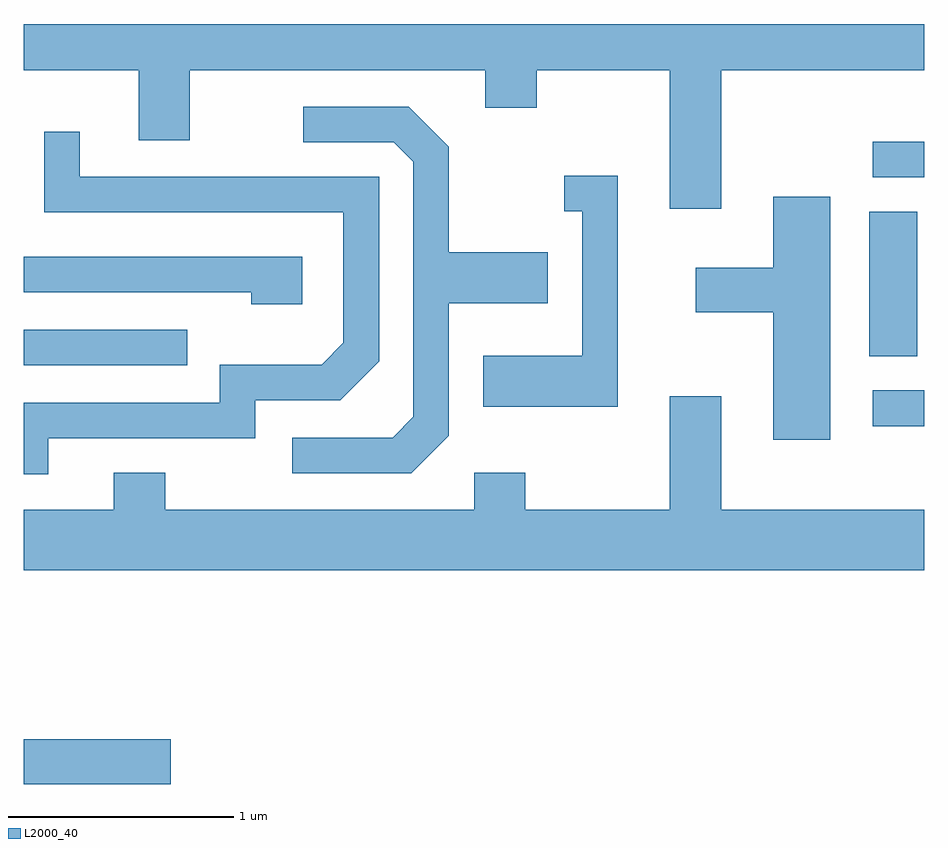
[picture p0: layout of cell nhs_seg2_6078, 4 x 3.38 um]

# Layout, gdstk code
import gdstk
lib = gdstk.Library(unit=1e-6, precision=1e-09)
def R(c, l, rs):  # rectangles x0, y0, x1, y1
    for r in rs: c.add(gdstk.rectangle(r[:2], r[2:], *l))
def P(c, l, *ps):  # polygons
    for p in ps: c.add(gdstk.Polygon(p, *l))
L2000_40 = (2000, 40)

nhs_seg2_6078 = lib.new_cell('nhs_seg2_6078')
R(nhs_seg2_6078, L2000_40, [(363.611,1098.426,364.264,1098.624), (367.383,1100.016,367.611,1100.174), (363.611,1100.286,364.338,1100.444), (367.366,1100.326,367.579,1100.969), (367.383,1101.121,367.611,1101.279)])
P(nhs_seg2_6078, L2000_40, [(363.611,1101.596),(364.121,1101.596),(364.121,1101.286),(364.349,1101.286),(364.349,1101.596),(365.661,1101.596),(365.661,1101.431),(365.889,1101.431),(365.889,1101.596),(366.481,1101.596),(366.481,1100.981),(366.709,1100.981),(366.709,1101.596),(367.611,1101.596),(367.611,1101.802),(363.611,1101.802)],
  [(365.499,1099.974),(365.499,1100.561),(365.939,1100.561),(365.939,1100.789),(365.499,1100.789),(365.499,1101.257),(365.322,1101.434),(364.853,1101.434),(364.853,1101.276),(365.254,1101.276),(365.341,1101.189),(365.341,1100.057),(365.249,1099.964),(364.803,1099.964),(364.803,1099.806),(365.332,1099.806)],
  [(363.719,1099.961),(364.639,1099.961),(364.639,1100.131),(365.017,1100.131),(365.189,1100.304),(365.189,1101.124),(363.859,1101.124),(363.859,1101.323),(363.701,1101.323),(363.701,1100.966),(365.031,1100.966),(365.031,1100.387),(364.934,1100.289),(364.481,1100.289),(364.481,1100.119),(363.611,1100.119),(363.611,1099.801),(363.719,1099.801)],
  [(366.249,1101.129),(366.013,1101.129),(366.013,1100.971),(366.091,1100.971),(366.091,1100.329),(365.651,1100.329),(365.651,1100.101),(366.249,1100.101)],
  [(367.194,1101.034),(366.941,1101.034),(366.941,1100.719),(366.596,1100.719),(366.596,1100.521),(366.941,1100.521),(366.941,1099.956),(367.194,1099.956)],
  [(364.849,1100.769),(363.611,1100.769),(363.611,1100.611),(364.621,1100.611),(364.621,1100.556),(364.849,1100.556)],
  [(367.611,1099.644),(366.709,1099.644),(366.709,1100.149),(366.481,1100.149),(366.481,1099.644),(365.839,1099.644),(365.839,1099.809),(365.611,1099.809),(365.611,1099.644),(364.239,1099.644),(364.239,1099.809),(364.011,1099.809),(364.011,1099.644),(363.611,1099.644),(363.611,1099.376),(367.611,1099.376)])

lib.write_gds('nhs_seg2_6078.gds')
